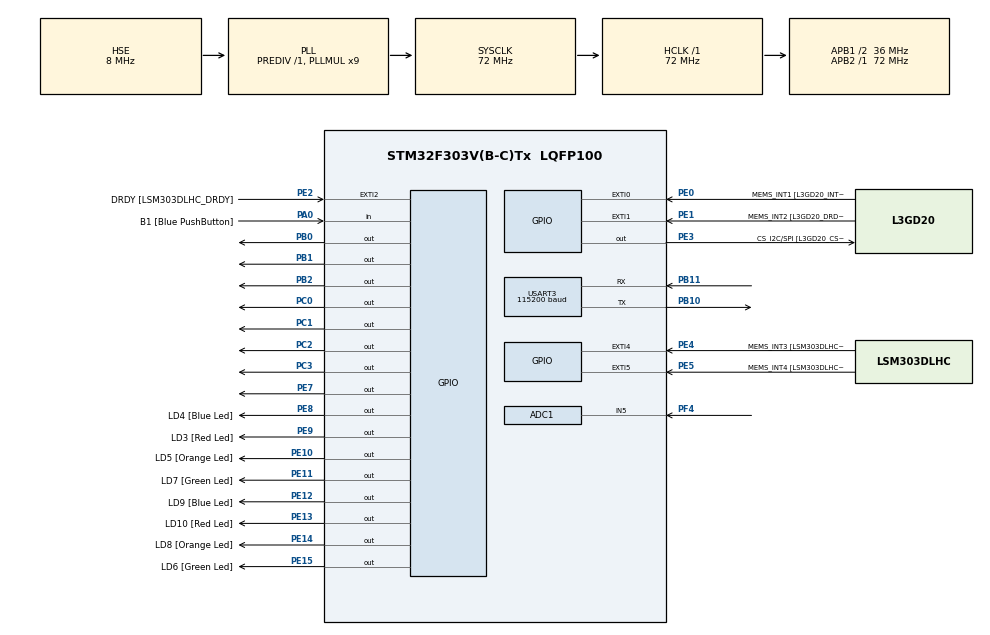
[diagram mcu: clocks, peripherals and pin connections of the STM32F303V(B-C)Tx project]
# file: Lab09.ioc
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ADC1.Channel-0\#ChannelRegularConversion=ADC_CHANNEL_5
ADC1.ContinuousConvMode=ENABLE
ADC1.NbrOfConversionFlag=1
ADC1.Offset-0\#ChannelRegularConversion=0
ADC1.OffsetNumber-0\#ChannelRegularConversion=ADC_OFFSET_NONE
ADC1.Rank-0\#ChannelRegularConversion=1
ADC1.SamplingTime-0\#ChannelRegularConversion=ADC_SAMPLETIME_1CYCLE_5
ADC1.master=1
Mcu.Family=STM32F3
Mcu.Name=STM32F303V(B-C)Tx
Mcu.Package=LQFP100
NVIC.PriorityGroup=NVIC_PRIORITYGROUP_0
PA0.GPIO_Label=B1 [Blue PushButton]
PA0.GPIO_Mode=GPIO_MODE_INPUT
PA0.GPIO_PuPd=GPIO_NOPULL
PA0.Signal=GPIO_Input
PA11.GPIO_Label=DM
PA11.Signal=USB_DM
PA12.GPIO_Label=DP
PA12.Signal=USB_DP
PA13.GPIO_Label=SWDIO
PA13.Signal=SYS_JTMS-SWDIO
PA14.GPIO_Label=SWCLK
PA14.Signal=SYS_JTCK-SWCLK
PA5.GPIO_Label=SPI1_SCK [L3GD20_SCL/SPC]
PA5.GPIO_Mode=GPIO_MODE_AF_PP
PA5.GPIO_PuPd=GPIO_NOPULL
PA5.GPIO_Speed=GPIO_SPEED_FREQ_LOW
PA5.Signal=SPI1_SCK
PA6.GPIO_Label=SPI1_MISO [L3GD20_SA0/SDO]
PA6.GPIO_Mode=GPIO_MODE_AF_PP
PA6.GPIO_PuPd=GPIO_NOPULL
PA6.GPIO_Speed=GPIO_SPEED_FREQ_LOW
PA6.Signal=SPI1_MISO
PA7.GPIO_Label=SPI1_MISO [L3GD20_SDA/SDI/SDO]
PA7.GPIO_Mode=GPIO_MODE_AF_PP
PA7.GPIO_PuPd=GPIO_NOPULL
PA7.GPIO_Speed=GPIO_SPEED_FREQ_LOW
PA7.Signal=SPI1_MOSI
PB0.Signal=GPIO_Output
PB1.Signal=GPIO_Output
PB10.Mode=Asynchronous
PB10.Signal=USART3_TX
PB11.Mode=Asynchronous
PB11.Signal=USART3_RX
PB2.Signal=GPIO_Output
PB3.GPIO_Label=SWO
PB3.Signal=SYS_JTDO-TRACESWO
PB6.GPIO_FM6=__NULL
PB6.GPIO_Label=I2C1_SCL [LSM303DLHC_SCL]
PB6.GPIO_Mode=GPIO_MODE_AF_OD
PB6.GPIO_PuPd=GPIO_NOPULL
PB6.GPIO_Speed=GPIO_SPEED_FREQ_LOW
PB6.Signal=I2C1_SCL
PB7.GPIO_FM7=__NULL
PB7.GPIO_Label=I2C1_SDA [LSM303DLHC_SDA]
PB7.GPIO_Mode=GPIO_MODE_AF_OD
PB7.GPIO_PuPd=GPIO_NOPULL
PB7.GPIO_Speed=GPIO_SPEED_FREQ_LOW
PB7.Signal=I2C1_SDA
PC0.Signal=GPIO_Output
PC1.Signal=GPIO_Output
PC14-OSC32_IN.GPIO_Label=OSC32_IN
PC14-OSC32_IN.Signal=RCC_OSC32_IN
PC15-OSC32_OUT.GPIO_Label=OSC32_OUT
PC15-OSC32_OUT.Signal=RCC_OSC32_OUT
PC2.Signal=GPIO_Output
PC3.Signal=GPIO_Output
PE0.GPIO_Label=MEMS_INT1 [L3GD20_INT1]
PE0.GPIO_ModeDefaultEXTI=GPIO_MODE_EVT_RISING
PE0.GPIO_PuPd=GPIO_NOPULL
PE0.Signal=GPXTI0
PE1.GPIO_Label=MEMS_INT2 [L3GD20_DRDY/INT2]
PE1.GPIO_ModeDefaultEXTI=GPIO_MODE_EVT_RISING
PE1.GPIO_PuPd=GPIO_NOPULL
PE1.Signal=GPXTI1
PE10.GPIO_Label=LD5 [Orange Led]
PE10.GPIO_ModeDefaultOutputPP=GPIO_MODE_OUTPUT_PP
PE10.GPIO_PuPd=GPIO_NOPULL
PE10.GPIO_Speed=GPIO_SPEED_FREQ_LOW
PE10.Signal=GPIO_Output
PE11.GPIO_Label=LD7 [Green Led]
PE11.GPIO_ModeDefaultOutputPP=GPIO_MODE_OUTPUT_PP
PE11.GPIO_PuPd=GPIO_NOPULL
PE11.GPIO_Speed=GPIO_SPEED_FREQ_LOW
PE11.Signal=GPIO_Output
PE12.GPIO_Label=LD9 [Blue Led]
PE12.GPIO_ModeDefaultOutputPP=GPIO_MODE_OUTPUT_PP
PE12.GPIO_PuPd=GPIO_NOPULL
PE12.GPIO_Speed=GPIO_SPEED_FREQ_LOW
PE12.Signal=GPIO_Output
PE13.GPIO_Label=LD10 [Red Led]
PE13.GPIO_ModeDefaultOutputPP=GPIO_MODE_OUTPUT_PP
PE13.GPIO_PuPd=GPIO_NOPULL
PE13.GPIO_Speed=GPIO_SPEED_FREQ_LOW
PE13.Signal=GPIO_Output
PE14.GPIO_Label=LD8 [Orange Led]
PE14.GPIO_ModeDefaultOutputPP=GPIO_MODE_OUTPUT_PP
PE14.GPIO_PuPd=GPIO_NOPULL
PE14.GPIO_Speed=GPIO_SPEED_FREQ_LOW
PE14.Signal=GPIO_Output
PE15.GPIO_Label=LD6 [Green Led]
PE15.GPIO_ModeDefaultOutputPP=GPIO_MODE_OUTPUT_PP
PE15.GPIO_PuPd=GPIO_NOPULL
PE15.GPIO_Speed=GPIO_SPEED_FREQ_LOW
PE15.Signal=GPIO_Output
PE2.GPIO_Label=DRDY [LSM303DLHC_DRDY]
PE2.GPIO_ModeDefaultEXTI=GPIO_MODE_EVT_RISING
PE2.GPIO_PuPd=GPIO_NOPULL
PE2.Signal=GPXTI2
PE3.GPIO_Label=CS_I2C/SPI [L3GD20_CS_I2C/SPI]
PE3.GPIO_ModeDefaultOutputPP=GPIO_MODE_OUTPUT_PP
PE3.GPIO_PuPd=GPIO_NOPULL
PE3.GPIO_Speed=GPIO_SPEED_FREQ_LOW
PE3.Signal=GPIO_Output
PE4.GPIO_Label=MEMS_INT3 [LSM303DLHC_INT1]
PE4.GPIO_ModeDefaultEXTI=GPIO_MODE_EVT_RISING
PE4.GPIO_PuPd=GPIO_NOPULL
PE4.Signal=GPXTI4
PE5.GPIO_Label=MEMS_INT4 [LSM303DLHC_INT2]
PE5.GPIO_ModeDefaultEXTI=GPIO_MODE_EVT_RISING
PE5.GPIO_PuPd=GPIO_NOPULL
PE5.Signal=GPXTI5
PE7.Signal=GPIO_Output
PE8.GPIO_Label=LD4 [Blue Led]
PE8.GPIO_ModeDefaultOutputPP=GPIO_MODE_OUTPUT_PP
PE8.GPIO_PuPd=GPIO_NOPULL
PE8.GPIO_Speed=GPIO_SPEED_FREQ_LOW
PE8.Signal=GPIO_Output
PE9.GPIO_Label=LD3 [Red Led]
PE9.GPIO_ModeDefaultOutputPP=GPIO_MODE_OUTPUT_PP
PE9.GPIO_PuPd=GPIO_NOPULL
PE9.GPIO_Speed=GPIO_SPEED_FREQ_LOW
PE9.Signal=GPIO_Output
PF0-OSC_IN.GPIO_Label=OSC_IN
PF0-OSC_IN.Mode=HSE-External-Clock-Source
PF0-OSC_IN.Signal=RCC_OSC_IN
PF1-OSC_OUT.GPIO_Label=OSC_OUT
PF1-OSC_OUT.Signal=RCC_OSC_OUT
PF4.Mode=IN5-Single-Ended
PF4.Signal=ADC1_IN5
ProjectManager.HeapSize=0x200
ProjectManager.StackSize=0x400
ProjectManager.TargetToolchain=MDK-ARM V5
RCC.AHBFreq_Value=72000000
RCC.APB1CLKDivider=RCC_HCLK_DIV2
RCC.APB1Freq_Value=36000000
RCC.APB1TimFreq_Value=72000000
RCC.APB2Freq_Value=72000000
RCC.APB2TimFreq_Value=72000000
RCC.CortexFreq_Value=72000000
RCC.HCLKFreq_Value=72000000
RCC.HSE_VALUE=8000000
RCC.HSI_VALUE=8000000
RCC.LSE_VALUE=32768
RCC.PLLMUL=RCC_PLL_MUL9
RCC.PLLSourceVirtual=RCC_PLLSOURCE_HSE
RCC.SYSCLKFreq_VALUE=72000000
RCC.SYSCLKSourceVirtual=RCC_SYSCLKSOURCE_PLLCLK
RCC.USBFreq_Value=72000000
USART3.BaudRate=115200
USART3.VirtualMode-Asynchronous=VM_ASYNC
board=STM32F3DISCOVERY

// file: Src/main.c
/* USER CODE BEGIN Header */
/**
  ******************************************************************************
  * @file           : main.c
  * @brief          : Main program body
  ******************************************************************************
  * @attention
  *
  * <h2><center>&copy; Copyright (c) 2019 STMicroelectronics.
  * All rights reserved.</center></h2>
  *
  * This software component is licensed by ST under BSD 3-Clause license,
  * the "License"; You may not use this file except in compliance with the
  * License. You may obtain a copy of the License at:
  *                        opensource.org/licenses/BSD-3-Clause
  *
  ******************************************************************************
  */
/* USER CODE END Header */

#include "main.h"

/* USER CODE BEGIN Includes */
#include "koibitoex_lcd2.h"
/* USER CODE END Includes */

ADC_HandleTypeDef hadc1;

UART_HandleTypeDef huart3;

void SystemClock_Config(void);
static void MX_GPIO_Init(void);
static void MX_ADC1_Init(void);
static void MX_USART3_UART_Init(void);

/* USER CODE BEGIN 0 */
void LedWriteCircle(uint8_t pos);

#define LED_PORT GPIOE

#define LED_0 GPIO_PIN_8
#define LED_1 GPIO_PIN_9
#define LED_2 GPIO_PIN_10
#define LED_3 GPIO_PIN_11
#define LED_4 GPIO_PIN_12
#define LED_5 GPIO_PIN_13
#define LED_6 GPIO_PIN_14
#define LED_7 GPIO_PIN_15

#define SET GPIO_PIN_SET
#define RESET GPIO_PIN_RESET

uint8_t count = 0;
uint16_t adcVal;
uint8_t str[20];
/* USER CODE END 0 */

int main(void)
{

  /* MCU Configuration--------------------------------------------------------*/

  /* Reset of all peripherals, Initializes the Flash interface and the Systick. */
  HAL_Init();

  /* Configure the system clock */
  SystemClock_Config();

  /* Initialize all configured peripherals */
  MX_GPIO_Init();
  MX_ADC1_Init();
  MX_USART3_UART_Init();
  /* USER CODE BEGIN 2 */
	HAL_ADC_Start(&hadc1);
	LcdInit();
	LcdCls(LCD_CLS_ALL);
	LcdSetBackLight(LCD_BACKLIGHT_ON);
	LcdSetCursor(LCD_CURSOR_OFF);
	LcdSetPosition(LCD_LINE_1, 0);
  /* USER CODE END 2 */

  /* Infinite loop */
  while (1)
  {

    /* USER CODE BEGIN 3 */
		if (HAL_ADC_PollForConversion(&hadc1, 100) == HAL_OK){
			adcVal = HAL_ADC_GetValue(&hadc1);
		}
		sprintf(str,"ADC Val = %04d     \r\n",adcVal);
		LcdSetPosition(LCD_LINE_1, 0);
		LcdPutS(str);
		HAL_UART_Transmit(&huart3, str, sizeof(str), 100);

		sprintf(str,"Voltage = %.2fv    \r\n",(3.3/4095)*adcVal);
		LcdSetPosition(LCD_LINE_2, 0);
		LcdPutS(str);
		HAL_UART_Transmit(&huart3, str, sizeof(str), 100);
		LedWriteCircle(count%8);

		if((3.3/4095)*adcVal >= 0 && (3.3/4095)*adcVal <= 1){
			count--;
		}else if((3.3/4095)*adcVal >= 2.1 && (3.3/4095)*adcVal <= 3.3){
			count++;
		}

		HAL_Delay(100);
  }
  /* USER CODE END 3 */
}

void SystemClock_Config(void)
{
  RCC_OscInitTypeDef RCC_OscInitStruct = {0};
  RCC_ClkInitTypeDef RCC_ClkInitStruct = {0};
  RCC_PeriphCLKInitTypeDef PeriphClkInit = {0};

  /** Initializes the CPU, AHB and APB busses clocks
  */
  RCC_OscInitStruct.OscillatorType = RCC_OSCILLATORTYPE_HSE;
  RCC_OscInitStruct.HSEState = RCC_HSE_BYPASS;
  RCC_OscInitStruct.HSEPredivValue = RCC_HSE_PREDIV_DIV1;
  RCC_OscInitStruct.HSIState = RCC_HSI_ON;
  RCC_OscInitStruct.PLL.PLLState = RCC_PLL_ON;
  RCC_OscInitStruct.PLL.PLLSource = RCC_PLLSOURCE_HSE;
  RCC_OscInitStruct.PLL.PLLMUL = RCC_PLL_MUL9;
  if (HAL_RCC_OscConfig(&RCC_OscInitStruct) != HAL_OK)
  {
    Error_Handler();
  }
  /** Initializes the CPU, AHB and APB busses clocks
  */
  RCC_ClkInitStruct.ClockType = RCC_CLOCKTYPE_HCLK|RCC_CLOCKTYPE_SYSCLK
                              |RCC_CLOCKTYPE_PCLK1|RCC_CLOCKTYPE_PCLK2;
  RCC_ClkInitStruct.SYSCLKSource = RCC_SYSCLKSOURCE_PLLCLK;
  RCC_ClkInitStruct.AHBCLKDivider = RCC_SYSCLK_DIV1;
  RCC_ClkInitStruct.APB1CLKDivider = RCC_HCLK_DIV2;
  RCC_ClkInitStruct.APB2CLKDivider = RCC_HCLK_DIV1;

  if (HAL_RCC_ClockConfig(&RCC_ClkInitStruct, FLASH_LATENCY_2) != HAL_OK)
  {
    Error_Handler();
  }
  PeriphClkInit.PeriphClockSelection = RCC_PERIPHCLK_USART3|RCC_PERIPHCLK_ADC12;
  PeriphClkInit.Usart3ClockSelection = RCC_USART3CLKSOURCE_PCLK1;
  PeriphClkInit.Adc12ClockSelection = RCC_ADC12PLLCLK_DIV1;
  if (HAL_RCCEx_PeriphCLKConfig(&PeriphClkInit) != HAL_OK)
  {
    Error_Handler();
  }
}

static void MX_ADC1_Init(void)
{

  ADC_MultiModeTypeDef multimode = {0};
  ADC_ChannelConfTypeDef sConfig = {0};

  /** Common config
  */
  hadc1.Instance = ADC1;
  hadc1.Init.ClockPrescaler = ADC_CLOCK_ASYNC_DIV1;
  hadc1.Init.Resolution = ADC_RESOLUTION_12B;
  hadc1.Init.ScanConvMode = ADC_SCAN_DISABLE;
  hadc1.Init.ContinuousConvMode = ENABLE;
  hadc1.Init.DiscontinuousConvMode = DISABLE;
  hadc1.Init.ExternalTrigConvEdge = ADC_EXTERNALTRIGCONVEDGE_NONE;
  hadc1.Init.ExternalTrigConv = ADC_SOFTWARE_START;
  hadc1.Init.DataAlign = ADC_DATAALIGN_RIGHT;
  hadc1.Init.NbrOfConversion = 1;
  hadc1.Init.DMAContinuousRequests = DISABLE;
  hadc1.Init.EOCSelection = ADC_EOC_SINGLE_CONV;
  hadc1.Init.LowPowerAutoWait = DISABLE;
  hadc1.Init.Overrun = ADC_OVR_DATA_OVERWRITTEN;
  if (HAL_ADC_Init(&hadc1) != HAL_OK)
  {
    Error_Handler();
  }
  /** Configure the ADC multi-mode
  */
  multimode.Mode = ADC_MODE_INDEPENDENT;
  if (HAL_ADCEx_MultiModeConfigChannel(&hadc1, &multimode) != HAL_OK)
  {
    Error_Handler();
  }
  /** Configure Regular Channel
  */
  sConfig.Channel = ADC_CHANNEL_5;
  sConfig.Rank = ADC_REGULAR_RANK_1;
  sConfig.SingleDiff = ADC_SINGLE_ENDED;
  sConfig.SamplingTime = ADC_SAMPLETIME_1CYCLE_5;
  sConfig.OffsetNumber = ADC_OFFSET_NONE;
  sConfig.Offset = 0;
  if (HAL_ADC_ConfigChannel(&hadc1, &sConfig) != HAL_OK)
  {
    Error_Handler();
  }

}

static void MX_USART3_UART_Init(void)
{

  huart3.Instance = USART3;
  huart3.Init.BaudRate = 115200;
  huart3.Init.WordLength = UART_WORDLENGTH_8B;
  huart3.Init.StopBits = UART_STOPBITS_1;
  huart3.Init.Parity = UART_PARITY_NONE;
  huart3.Init.Mode = UART_MODE_TX_RX;
  huart3.Init.HwFlowCtl = UART_HWCONTROL_NONE;
  huart3.Init.OverSampling = UART_OVERSAMPLING_16;
  huart3.Init.OneBitSampling = UART_ONE_BIT_SAMPLE_DISABLE;
  huart3.AdvancedInit.AdvFeatureInit = UART_ADVFEATURE_NO_INIT;
  if (HAL_UART_Init(&huart3) != HAL_OK)
  {
    Error_Handler();
  }

}

static void MX_GPIO_Init(void)
{
  GPIO_InitTypeDef GPIO_InitStruct = {0};

  /* GPIO Ports Clock Enable */
  __HAL_RCC_GPIOE_CLK_ENABLE();
  __HAL_RCC_GPIOC_CLK_ENABLE();
  __HAL_RCC_GPIOF_CLK_ENABLE();
  __HAL_RCC_GPIOA_CLK_ENABLE();
  __HAL_RCC_GPIOB_CLK_ENABLE();

  /*Configure GPIO pin Output Level */
  HAL_GPIO_WritePin(GPIOE, CS_I2C_SPI_Pin|GPIO_PIN_7|LD4_Pin|LD3_Pin
                          |LD5_Pin|LD7_Pin|LD9_Pin|LD10_Pin
                          |LD8_Pin|LD6_Pin, GPIO_PIN_RESET);

  /*Configure GPIO pin Output Level */
  HAL_GPIO_WritePin(GPIOC, GPIO_PIN_0|GPIO_PIN_1|GPIO_PIN_2|GPIO_PIN_3, GPIO_PIN_RESET);

  /*Configure GPIO pin Output Level */
  HAL_GPIO_WritePin(GPIOB, GPIO_PIN_0|GPIO_PIN_1|GPIO_PIN_2, GPIO_PIN_RESET);

  /*Configure GPIO pins : DRDY_Pin MEMS_INT3_Pin MEMS_INT4_Pin MEMS_INT1_Pin
                           MEMS_INT2_Pin */
  GPIO_InitStruct.Pin = DRDY_Pin|MEMS_INT3_Pin|MEMS_INT4_Pin|MEMS_INT1_Pin
                          |MEMS_INT2_Pin;
  GPIO_InitStruct.Mode = GPIO_MODE_EVT_RISING;
  GPIO_InitStruct.Pull = GPIO_NOPULL;
  HAL_GPIO_Init(GPIOE, &GPIO_InitStruct);

  /*Configure GPIO pins : CS_I2C_SPI_Pin PE7 LD4_Pin LD3_Pin
                           LD5_Pin LD7_Pin LD9_Pin LD10_Pin
                           LD8_Pin LD6_Pin */
  GPIO_InitStruct.Pin = CS_I2C_SPI_Pin|GPIO_PIN_7|LD4_Pin|LD3_Pin
                          |LD5_Pin|LD7_Pin|LD9_Pin|LD10_Pin
                          |LD8_Pin|LD6_Pin;
  GPIO_InitStruct.Mode = GPIO_MODE_OUTPUT_PP;
  GPIO_InitStruct.Pull = GPIO_NOPULL;
  GPIO_InitStruct.Speed = GPIO_SPEED_FREQ_LOW;
  HAL_GPIO_Init(GPIOE, &GPIO_InitStruct);

  /*Configure GPIO pins : PC0 PC1 PC2 PC3 */
  GPIO_InitStruct.Pin = GPIO_PIN_0|GPIO_PIN_1|GPIO_PIN_2|GPIO_PIN_3;
  GPIO_InitStruct.Mode = GPIO_MODE_OUTPUT_PP;
  GPIO_InitStruct.Pull = GPIO_NOPULL;
  GPIO_InitStruct.Speed = GPIO_SPEED_FREQ_LOW;
  HAL_GPIO_Init(GPIOC, &GPIO_InitStruct);

  /*Configure GPIO pin : B1_Pin */
  GPIO_InitStruct.Pin = B1_Pin;
  GPIO_InitStruct.Mode = GPIO_MODE_INPUT;
  GPIO_InitStruct.Pull = GPIO_NOPULL;
  HAL_GPIO_Init(B1_GPIO_Port, &GPIO_InitStruct);

  /*Configure GPIO pins : SPI1_SCK_Pin SPI1_MISO_Pin SPI1_MISOA7_Pin */
  GPIO_InitStruct.Pin = SPI1_SCK_Pin|SPI1_MISO_Pin|SPI1_MISOA7_Pin;
  GPIO_InitStruct.Mode = GPIO_MODE_AF_PP;
  GPIO_InitStruct.Pull = GPIO_NOPULL;
  GPIO_InitStruct.Speed = GPIO_SPEED_FREQ_LOW;
  GPIO_InitStruct.Alternate = GPIO_AF5_SPI1;
  HAL_GPIO_Init(GPIOA, &GPIO_InitStruct);

  /*Configure GPIO pins : PB0 PB1 PB2 */
  GPIO_InitStruct.Pin = GPIO_PIN_0|GPIO_PIN_1|GPIO_PIN_2;
  GPIO_InitStruct.Mode = GPIO_MODE_OUTPUT_PP;
  GPIO_InitStruct.Pull = GPIO_NOPULL;
  GPIO_InitStruct.Speed = GPIO_SPEED_FREQ_LOW;
  HAL_GPIO_Init(GPIOB, &GPIO_InitStruct);

  /*Configure GPIO pins : DM_Pin DP_Pin */
  GPIO_InitStruct.Pin = DM_Pin|DP_Pin;
  GPIO_InitStruct.Mode = GPIO_MODE_AF_PP;
  GPIO_InitStruct.Pull = GPIO_NOPULL;
  GPIO_InitStruct.Speed = GPIO_SPEED_FREQ_HIGH;
  GPIO_InitStruct.Alternate = GPIO_AF14_USB;
  HAL_GPIO_Init(GPIOA, &GPIO_InitStruct);

  /*Configure GPIO pins : I2C1_SCL_Pin I2C1_SDA_Pin */
  GPIO_InitStruct.Pin = I2C1_SCL_Pin|I2C1_SDA_Pin;
  GPIO_InitStruct.Mode = GPIO_MODE_AF_OD;
  GPIO_InitStruct.Pull = GPIO_PULLUP;
  GPIO_InitStruct.Speed = GPIO_SPEED_FREQ_LOW;
  GPIO_InitStruct.Alternate = GPIO_AF4_I2C1;
  HAL_GPIO_Init(GPIOB, &GPIO_InitStruct);

}

/* USER CODE BEGIN 4 */
void LedWriteCircle(uint8_t pos){
	HAL_GPIO_WritePin(LED_PORT,LED_0,(pos == 0)? SET : RESET);
	HAL_GPIO_WritePin(LED_PORT,LED_1,(pos == 1)? SET : RESET);
	HAL_GPIO_WritePin(LED_PORT,LED_2,(pos == 2)? SET : RESET);
	HAL_GPIO_WritePin(LED_PORT,LED_3,(pos == 3)? SET : RESET);
	HAL_GPIO_WritePin(LED_PORT,LED_4,(pos == 4)? SET : RESET);
	HAL_GPIO_WritePin(LED_PORT,LED_5,(pos == 5)? SET : RESET);
	HAL_GPIO_WritePin(LED_PORT,LED_6,(pos == 6)? SET : RESET);
	HAL_GPIO_WritePin(LED_PORT,LED_7,(pos == 7)? SET : RESET);
}
/* USER CODE END 4 */

void Error_Handler(void)
{
}

/************************ (C) COPYRIGHT STMicroelectronics *****END OF FILE****/
